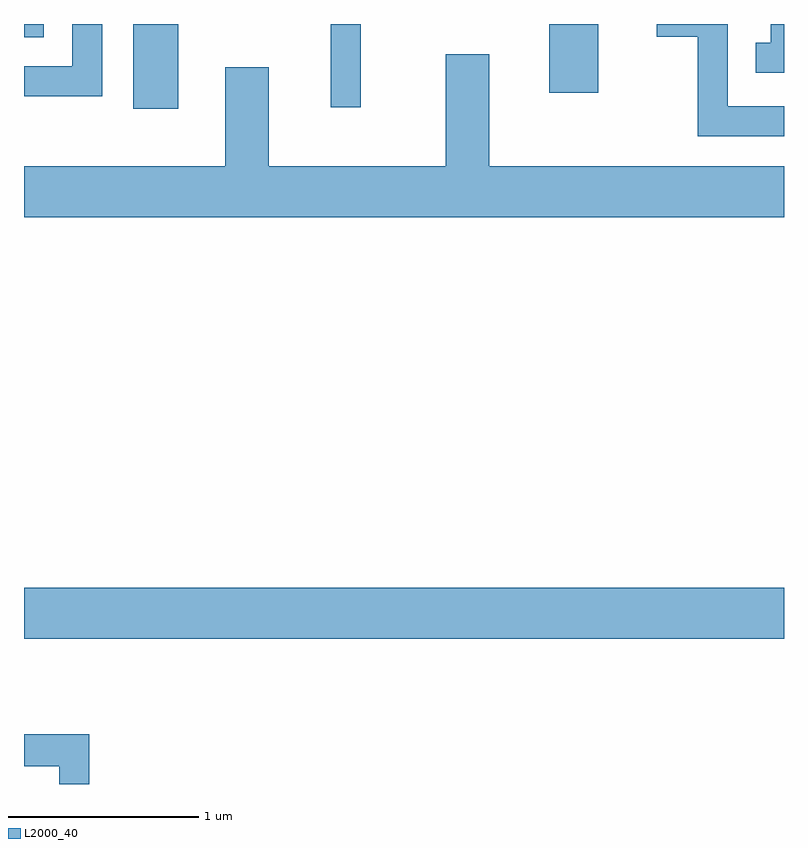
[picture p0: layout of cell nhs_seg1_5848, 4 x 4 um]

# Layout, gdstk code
import gdstk
lib = gdstk.Library(unit=1e-6, precision=1e-09)
def R(c, l, rs):  # rectangles x0, y0, x1, y1
    for r in rs: c.add(gdstk.rectangle(r[:2], r[2:], *l))
def P(c, l, *ps):  # polygons
    for p in ps: c.add(gdstk.Polygon(p, *l))
L2000_40 = (2000, 40)

nhs_seg1_5848 = lib.new_cell('nhs_seg1_5848')
R(nhs_seg1_5848, L2000_40, [(361.611,888.476,365.611,888.744), (362.186,891.266,362.424,891.712), (363.226,891.273,363.384,891.712), (364.376,891.351,364.634,891.712), (361.611,891.641,361.714,891.712)])
P(nhs_seg1_5848, L2000_40, [(362.024,891.712),(361.866,891.712),(361.866,891.489),(361.611,891.489),(361.611,891.331),(362.024,891.331)],
  [(365.611,891.712),(365.541,891.712),(365.541,891.614),(365.463,891.614),(365.463,891.456),(365.611,891.456)],
  [(365.611,891.279),(365.314,891.279),(365.314,891.712),(364.941,891.712),(364.941,891.646),(365.156,891.646),(365.156,891.121),(365.611,891.121)],
  [(365.611,890.964),(364.059,890.964),(364.059,891.554),(363.831,891.554),(363.831,890.964),(362.899,890.964),(362.899,891.484),(362.671,891.484),(362.671,890.964),(361.611,890.964),(361.611,890.696),(365.611,890.696)],
  [(361.954,887.974),(361.611,887.974),(361.611,887.806),(361.796,887.806),(361.796,887.712),(361.954,887.712)])

lib.write_gds('nhs_seg1_5848.gds')
